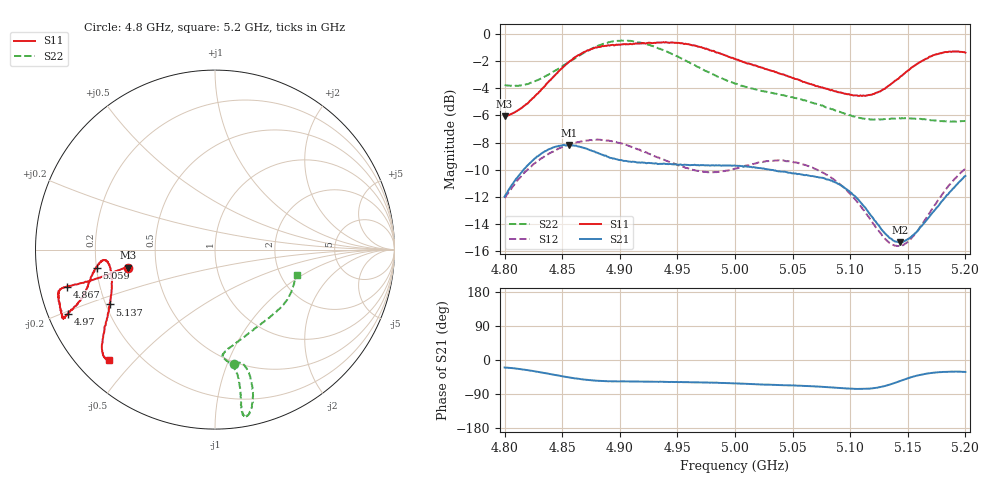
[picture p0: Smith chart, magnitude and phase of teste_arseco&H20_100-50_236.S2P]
! Network Analyzer HP8722D
! Hewlett-Packard
! Data name: Linha & Wilkinson
! Saver's name: Rodrigo Anjos
! Comments: Teste da utilização de aquisição
! continua pelo VNA HP8722D
! Time and date: 6/5/2025 14:32
!  Frequency  S11  S21  S12  S22
# HZ  S  MA R 50
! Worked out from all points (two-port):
!   401 points, 4.8 GHz to 5.2 GHz, reference 50 ohm
!   highest |S21| = -8.17 dB at 4.856 GHz (marker M1); lowest = -15.3 dB at 5.143 GHz (marker M2)
!   |S21| within 3 dB of the highest: 4.806 GHz to 5.093 GHz (286.8 MHz wide, 5.8 % of centre); 5.191569 GHz to end of sweep
!   lowest |S11| = -6.1 dB at 4.8 GHz (marker M3), VSWR 2.98, Z = 17 - j4.56 ohm
!   |S11| at or under -10 dB: nowhere
!   |S22| runs from -6.5 to -0.5 dB; largest |S21 - S12| = 0.62
!   S11 on the Smith chart (normalised r, x): 4.8 GHz: 0.34, -0.09; 4.867 GHz: 0.08, -0.12; 4.97 GHz: 0.06, -0.21; 5.059 GHz: 0.20, -0.07; 5.137 GHz: 0.22, -0.23; 5.2 GHz: 0.09, -0.42
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4.8e9  0.4969 -168.2  0.2521 -19.7  0.249 -141.0  0.6486 -80.4
4.828e9  0.6005 -167.1  0.3539 -30.7  0.3385 -144.9  0.6746 -75.5
4.856e9  0.7897 -165.8  0.3905 -45.9  0.3913 -150.2  0.7883 -74.8
4.867e9  0.8476 -165.9  0.3828 -51.0  0.4024 -152.1  0.843 -75.4
4.88e9  0.8901 -165.7  0.3661 -54.7  0.4085 -154.2  0.8996 -76.8
4.899e9  0.9135 -163.0  0.3439 -56.6  0.3977 -156.8  0.9427 -79.1
4.915e9  0.9212 -159.6  0.3366 -56.9  0.3773 -157.2  0.9333 -80.5
4.934e9  0.9286 -156.5  0.3326 -57.6  0.3506 -155.8  0.8822 -80.5
4.97e9  0.8936 -156.5  0.3293 -59.2  0.3125 -147.0  0.7462 -79.6
5e9  0.8096 -159.1  0.328 -61.9  0.3195 -137.3  0.6557 -81.3
5.036e9  0.7227 -165.6  0.3132 -66.0  0.3421 -134.4  0.6021 -85.6
5.059e9  0.6657 -171.4  0.3034 -68.3  0.3311 -136.1  0.5705 -84.3
5.067e9  0.651 -173.0  0.3001 -69.2  0.3227 -136.9  0.558 -82.6
5.087e9  0.6149 -174.6  0.2843 -73.1  0.2886 -138.6  0.5228 -74.8
5.103e9  0.5936 -171.7  0.255 -76.1  0.2499 -138.7  0.4969 -65.2
5.116e9  0.5961 -165.6  0.2209 -76.0  0.2125 -135.5  0.4862 -55.7
5.134e9  0.6474 -154.2  0.1778 -65.3  0.1705 -120.6  0.4863 -43.3
5.137e9  0.6617 -152.5  0.1742 -62.2  0.1676 -116.8  0.4879 -41.4
5.143e9  0.6924 -149.4  0.1715 -55.7  0.1659 -109.0  0.4895 -37.9
5.154e9  0.7559 -144.6  0.1812 -44.4  0.1793 -95.1  0.488 -32.3
5.171e9  0.8296 -139.5  0.2189 -34.0  0.2266 -81.7  0.4807 -24.8
5.2e9  0.8531 -133.8  0.3002 -31.4  0.3191 -77.0  0.4777 -17.5
